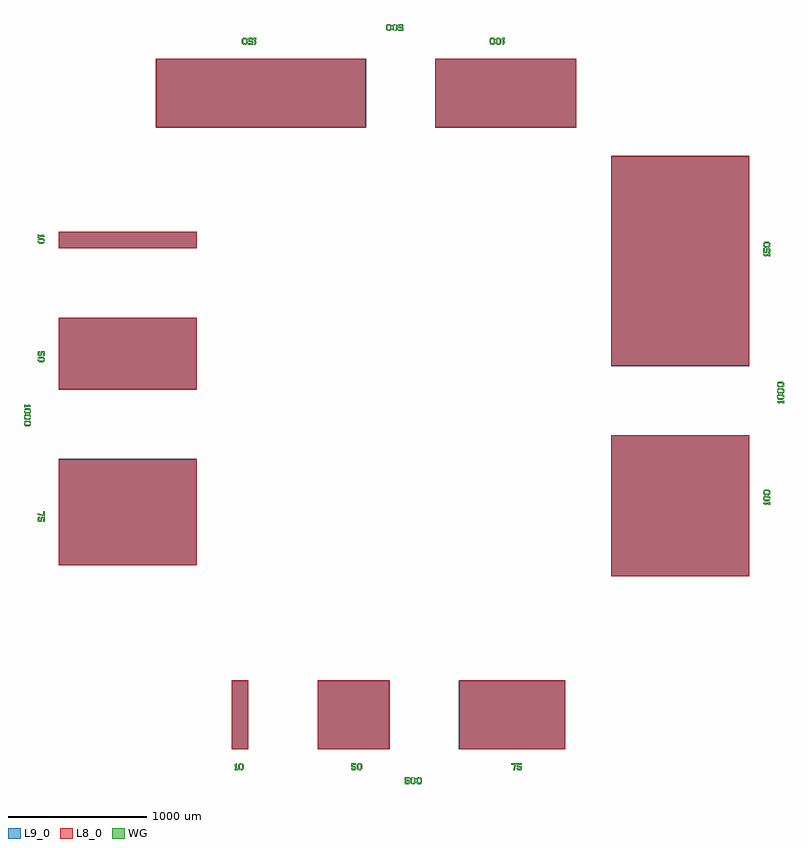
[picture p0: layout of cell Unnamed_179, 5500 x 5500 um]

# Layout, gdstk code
from math import pi, radians
import gdstk
lib = gdstk.Library(unit=1e-6, precision=1e-09)
def R(c, l, rs):  # rectangles x0, y0, x1, y1
    for r in rs: c.add(gdstk.rectangle(r[:2], r[2:], *l))
def P(c, l, *ps):  # polygons
    for p in ps: c.add(gdstk.Polygon(p, *l))
WG = (1, 0)
L8_0 = (8, 0)
L9_0 = (9, 0)

rectangle_s772_999_l9_0_ = lib.new_cell('rectangle_S772_999_L9_0_5e0e11a0')
R(rectangle_s772_999_l9_0_, L9_0, [(0,0,772,999)])

text_t75_s50_p0_0_jleft_ = lib.new_cell('text_T75_S50_P0_0_Jleft_L1_0')
P(text_t75_s50_p0_0_jleft_, WG, [(50,0),(45,5),(45,15),(55,15),(55,10),(70,10),(70,20),(50,20),(45,25),(45,50),(80,50),(80,40),(55,40),(55,30),(75,30),(80,25),(80,5),(75,0)],
  [(20,0),(28,40),(5,40),(5,50),(40,50),(30,0)])

rectangle_s75_1000_l8_0_ = lib.new_cell('rectangle_S75_1000_L8_0_1f6042d1')
R(rectangle_s75_1000_l8_0_, L8_0, [(0,0,75,1000)])

unnamed_166 = lib.new_cell('Unnamed_166')
unnamed_166.add(gdstk.Reference(rectangle_s772_999_l9_0_, (-247.455,0)))
unnamed_166.add(gdstk.Reference(text_t75_s50_p0_0_jleft_, (128.045,-150)))
unnamed_166.add(gdstk.Reference(rectangle_s75_1000_l8_0_, (-245.455,0)))
unnamed_166.add(gdstk.Reference(rectangle_s75_1000_l8_0_, (-168.455,0)))
unnamed_166.add(gdstk.Reference(rectangle_s75_1000_l8_0_, (-91.455,0)))
unnamed_166.add(gdstk.Reference(rectangle_s75_1000_l8_0_, (-14.455,0)))
unnamed_166.add(gdstk.Reference(rectangle_s75_1000_l8_0_, (62.545,0)))
unnamed_166.add(gdstk.Reference(rectangle_s75_1000_l8_0_, (139.545,0)))
unnamed_166.add(gdstk.Reference(rectangle_s75_1000_l8_0_, (216.545,0)))
unnamed_166.add(gdstk.Reference(rectangle_s75_1000_l8_0_, (293.545,0)))
unnamed_166.add(gdstk.Reference(rectangle_s75_1000_l8_0_, (370.545,0)))
unnamed_166.add(gdstk.Reference(rectangle_s75_1000_l8_0_, (447.545,0)))

text_t1000_s50_p0_0_jlef = lib.new_cell('text_T1000_S50_P0_0_Jleft_L1_0')
P(text_t1000_s50_p0_0_jlef, WG, [(48.5,0),(51,10),(55,10),(60,15),(60,35),(55,40),(57.5,50),(60,50),(70,40),(70,10),(60,0)],
  [(93.5,0),(96,10),(100,10),(105,15),(105,35),(100,40),(102.5,50),(105,50),(115,40),(115,10),(105,0)],
  [(138.5,0),(141,10),(145,10),(150,15),(150,35),(145,40),(147.5,50),(150,50),(160,40),(160,10),(150,0)],
  [(40,0),(30,10),(30,40),(40,50),(51.5,50),(49,40),(45,40),(40,35),(40,15),(45,10),(42.5,0)],
  [(85,0),(75,10),(75,40),(85,50),(96.5,50),(94,40),(90,40),(85,35),(85,15),(90,10),(87.5,0)],
  [(130,0),(120,10),(120,40),(130,50),(141.5,50),(139,40),(135,40),(130,35),(130,15),(135,10),(132.5,0)],
  [(5,0),(5,10),(10,10),(10,30),(5,30),(5,40),(15,50),(20,50),(20,10),(25,10),(25,0)])

rectangle_s522_999_l9_0_ = lib.new_cell('rectangle_S522_999_L9_0_933bcd9b')
R(rectangle_s522_999_l9_0_, L9_0, [(0,0,522,999)])

text_t50_s50_p0_0_jleft_ = lib.new_cell('text_T50_S50_P0_0_Jleft_L1_0')
P(text_t50_s50_p0_0_jleft_, WG, [(63.5,0),(66,10),(70,10),(75,15),(75,35),(70,40),(72.5,50),(75,50),(85,40),(85,10),(75,0)],
  [(55,0),(45,10),(45,40),(55,50),(66.5,50),(64,40),(60,40),(55,35),(55,15),(60,10),(57.5,0)],
  [(10,0),(5,5),(5,15),(15,15),(15,10),(30,10),(30,20),(10,20),(5,25),(5,50),(40,50),(40,40),(15,40),(15,30),(35,30),(40,25),(40,5),(35,0)])

rectangle_s50_1000_l8_0_ = lib.new_cell('rectangle_S50_1000_L8_0_be2a9c9e')
R(rectangle_s50_1000_l8_0_, L8_0, [(0,0,50,1000)])

unnamed_165 = lib.new_cell('Unnamed_165')
unnamed_165.add(gdstk.Reference(rectangle_s522_999_l9_0_, (-247.455,0)))
unnamed_165.add(gdstk.Reference(text_t50_s50_p0_0_jleft_, (-9.455,-150)))
unnamed_165.add(gdstk.Reference(rectangle_s50_1000_l8_0_, (-245.455,0)))
unnamed_165.add(gdstk.Reference(rectangle_s50_1000_l8_0_, (-193.455,0)))
unnamed_165.add(gdstk.Reference(rectangle_s50_1000_l8_0_, (-141.455,0)))
unnamed_165.add(gdstk.Reference(rectangle_s50_1000_l8_0_, (-89.455,0)))
unnamed_165.add(gdstk.Reference(rectangle_s50_1000_l8_0_, (-37.455,0)))
unnamed_165.add(gdstk.Reference(rectangle_s50_1000_l8_0_, (14.545,0)))
unnamed_165.add(gdstk.Reference(rectangle_s50_1000_l8_0_, (66.545,0)))
unnamed_165.add(gdstk.Reference(rectangle_s50_1000_l8_0_, (118.545,0)))
unnamed_165.add(gdstk.Reference(rectangle_s50_1000_l8_0_, (170.545,0)))
unnamed_165.add(gdstk.Reference(rectangle_s50_1000_l8_0_, (222.545,0)))

rectangle_s122_999_l9_0_ = lib.new_cell('rectangle_S122_999_L9_0_43e7dc5c')
R(rectangle_s122_999_l9_0_, L9_0, [(0,0,122,999)])

text_t10_s50_p0_0_jleft_ = lib.new_cell('text_T10_S50_P0_0_Jleft_L1_0')
P(text_t10_s50_p0_0_jleft_, WG, [(48.5,0),(51,10),(55,10),(60,15),(60,35),(55,40),(57.5,50),(60,50),(70,40),(70,10),(60,0)],
  [(40,0),(30,10),(30,40),(40,50),(51.5,50),(49,40),(45,40),(40,35),(40,15),(45,10),(42.5,0)],
  [(5,0),(5,10),(10,10),(10,30),(5,30),(5,40),(15,50),(20,50),(20,10),(25,10),(25,0)])

rectangle_s10_1000_l8_0_ = lib.new_cell('rectangle_S10_1000_L8_0_7ec81926')
R(rectangle_s10_1000_l8_0_, L8_0, [(0,0,10,1000)])

unnamed_164 = lib.new_cell('Unnamed_164')
unnamed_164.add(gdstk.Reference(rectangle_s122_999_l9_0_, (-247.455,0)))
unnamed_164.add(gdstk.Reference(text_t10_s50_p0_0_jleft_, (-229.455,-150)))
unnamed_164.add(gdstk.Reference(rectangle_s10_1000_l8_0_, (-245.455,0)))
unnamed_164.add(gdstk.Reference(rectangle_s10_1000_l8_0_, (-233.455,0)))
unnamed_164.add(gdstk.Reference(rectangle_s10_1000_l8_0_, (-221.455,0)))
unnamed_164.add(gdstk.Reference(rectangle_s10_1000_l8_0_, (-209.455,0)))
unnamed_164.add(gdstk.Reference(rectangle_s10_1000_l8_0_, (-197.455,0)))
unnamed_164.add(gdstk.Reference(rectangle_s10_1000_l8_0_, (-185.455,0)))
unnamed_164.add(gdstk.Reference(rectangle_s10_1000_l8_0_, (-173.455,0)))
unnamed_164.add(gdstk.Reference(rectangle_s10_1000_l8_0_, (-161.455,0)))
unnamed_164.add(gdstk.Reference(rectangle_s10_1000_l8_0_, (-149.455,0)))
unnamed_164.add(gdstk.Reference(rectangle_s10_1000_l8_0_, (-137.455,0)))

unnamed_177 = lib.new_cell('Unnamed_177')
unnamed_177.add(gdstk.Reference(unnamed_166, (3144,0)))
unnamed_177.add(gdstk.Reference(text_t1000_s50_p0_0_jlef, (2500,-250)))
unnamed_177.add(gdstk.Reference(unnamed_165, (2122,0)))
unnamed_177.add(gdstk.Reference(unnamed_164, (1500,0)))

rectangle_s1522_499_l9__ = lib.new_cell('rectangle_S1522_499_L9__793022a3')
R(rectangle_s1522_499_l9__, L9_0, [(0,0,1522,499)])

text_t150_s50_p0_0_jleft = lib.new_cell('text_T150_S50_P0_0_Jleft_L1_0')
P(text_t150_s50_p0_0_jleft, WG, [(88.5,0),(91,10),(95,10),(100,15),(100,35),(95,40),(97.5,50),(100,50),(110,40),(110,10),(100,0)],
  [(80,0),(70,10),(70,40),(80,50),(91.5,50),(89,40),(85,40),(80,35),(80,15),(85,10),(82.5,0)],
  [(35,0),(30,5),(30,15),(40,15),(40,10),(55,10),(55,20),(35,20),(30,25),(30,50),(65,50),(65,40),(40,40),(40,30),(60,30),(65,25),(65,5),(60,0)],
  [(5,0),(5,10),(10,10),(10,30),(5,30),(5,40),(15,50),(20,50),(20,10),(25,10),(25,0)])

rectangle_s150_500_l8_0_ = lib.new_cell('rectangle_S150_500_L8_0_a809281c')
R(rectangle_s150_500_l8_0_, L8_0, [(0,0,150,500)])

unnamed_163 = lib.new_cell('Unnamed_163')
unnamed_163.add(gdstk.Reference(rectangle_s1522_499_l9__, (-247.455,0)))
unnamed_163.add(gdstk.Reference(text_t150_s50_p0_0_jleft, (540.545,-150)))
unnamed_163.add(gdstk.Reference(rectangle_s150_500_l8_0_, (-245.455,0)))
unnamed_163.add(gdstk.Reference(rectangle_s150_500_l8_0_, (-93.455,0)))
unnamed_163.add(gdstk.Reference(rectangle_s150_500_l8_0_, (58.545,0)))
unnamed_163.add(gdstk.Reference(rectangle_s150_500_l8_0_, (210.545,0)))
unnamed_163.add(gdstk.Reference(rectangle_s150_500_l8_0_, (362.545,0)))
unnamed_163.add(gdstk.Reference(rectangle_s150_500_l8_0_, (514.545,0)))
unnamed_163.add(gdstk.Reference(rectangle_s150_500_l8_0_, (666.545,0)))
unnamed_163.add(gdstk.Reference(rectangle_s150_500_l8_0_, (818.545,0)))
unnamed_163.add(gdstk.Reference(rectangle_s150_500_l8_0_, (970.545,0)))
unnamed_163.add(gdstk.Reference(rectangle_s150_500_l8_0_, (1122.545,0)))

text_t500_s50_p0_0_jleft = lib.new_cell('text_T500_S50_P0_0_Jleft_L1_0')
P(text_t500_s50_p0_0_jleft, WG, [(63.5,0),(66,10),(70,10),(75,15),(75,35),(70,40),(72.5,50),(75,50),(85,40),(85,10),(75,0)],
  [(108.5,0),(111,10),(115,10),(120,15),(120,35),(115,40),(117.5,50),(120,50),(130,40),(130,10),(120,0)],
  [(55,0),(45,10),(45,40),(55,50),(66.5,50),(64,40),(60,40),(55,35),(55,15),(60,10),(57.5,0)],
  [(100,0),(90,10),(90,40),(100,50),(111.5,50),(109,40),(105,40),(100,35),(100,15),(105,10),(102.5,0)],
  [(10,0),(5,5),(5,15),(15,15),(15,10),(30,10),(30,20),(10,20),(5,25),(5,50),(40,50),(40,40),(15,40),(15,30),(35,30),(40,25),(40,5),(35,0)])

rectangle_s1022_499_l9__ = lib.new_cell('rectangle_S1022_499_L9__c49e9b72')
R(rectangle_s1022_499_l9__, L9_0, [(0,0,1022,499)])

text_t100_s50_p0_0_jleft = lib.new_cell('text_T100_S50_P0_0_Jleft_L1_0')
P(text_t100_s50_p0_0_jleft, WG, [(48.5,0),(51,10),(55,10),(60,15),(60,35),(55,40),(57.5,50),(60,50),(70,40),(70,10),(60,0)],
  [(93.5,0),(96,10),(100,10),(105,15),(105,35),(100,40),(102.5,50),(105,50),(115,40),(115,10),(105,0)],
  [(40,0),(30,10),(30,40),(40,50),(51.5,50),(49,40),(45,40),(40,35),(40,15),(45,10),(42.5,0)],
  [(85,0),(75,10),(75,40),(85,50),(96.5,50),(94,40),(90,40),(85,35),(85,15),(90,10),(87.5,0)],
  [(5,0),(5,10),(10,10),(10,30),(5,30),(5,40),(15,50),(20,50),(20,10),(25,10),(25,0)])

rectangle_s100_500_l8_0_ = lib.new_cell('rectangle_S100_500_L8_0_4ff10c85')
R(rectangle_s100_500_l8_0_, L8_0, [(0,0,100,500)])

unnamed_162 = lib.new_cell('Unnamed_162')
unnamed_162.add(gdstk.Reference(rectangle_s1022_499_l9__, (-247.455,0)))
unnamed_162.add(gdstk.Reference(text_t100_s50_p0_0_jleft, (265.545,-150)))
unnamed_162.add(gdstk.Reference(rectangle_s100_500_l8_0_, (-245.455,0)))
unnamed_162.add(gdstk.Reference(rectangle_s100_500_l8_0_, (-143.455,0)))
unnamed_162.add(gdstk.Reference(rectangle_s100_500_l8_0_, (-41.455,0)))
unnamed_162.add(gdstk.Reference(rectangle_s100_500_l8_0_, (60.545,0)))
unnamed_162.add(gdstk.Reference(rectangle_s100_500_l8_0_, (162.545,0)))
unnamed_162.add(gdstk.Reference(rectangle_s100_500_l8_0_, (264.545,0)))
unnamed_162.add(gdstk.Reference(rectangle_s100_500_l8_0_, (366.545,0)))
unnamed_162.add(gdstk.Reference(rectangle_s100_500_l8_0_, (468.545,0)))
unnamed_162.add(gdstk.Reference(rectangle_s100_500_l8_0_, (570.545,0)))
unnamed_162.add(gdstk.Reference(rectangle_s100_500_l8_0_, (672.545,0)))

unnamed_176 = lib.new_cell('Unnamed_176')
unnamed_176.add(gdstk.Reference(unnamed_163, (3022,0)))
unnamed_176.add(gdstk.Reference(text_t500_s50_p0_0_jleft, (2500,-250)))
unnamed_176.add(gdstk.Reference(unnamed_162, (1500,0)))

rectangle_s1522_999_l9__ = lib.new_cell('rectangle_S1522_999_L9__c22040db')
R(rectangle_s1522_999_l9__, L9_0, [(0,0,1522,999)])

rectangle_s150_1000_l8__ = lib.new_cell('rectangle_S150_1000_L8__8951bea8')
R(rectangle_s150_1000_l8__, L8_0, [(0,0,150,1000)])

unnamed_168 = lib.new_cell('Unnamed_168')
unnamed_168.add(gdstk.Reference(rectangle_s1522_999_l9__, (-247.455,0)))
unnamed_168.add(gdstk.Reference(text_t150_s50_p0_0_jleft, (540.545,-150)))
unnamed_168.add(gdstk.Reference(rectangle_s150_1000_l8__, (-245.455,0)))
unnamed_168.add(gdstk.Reference(rectangle_s150_1000_l8__, (-93.455,0)))
unnamed_168.add(gdstk.Reference(rectangle_s150_1000_l8__, (58.545,0)))
unnamed_168.add(gdstk.Reference(rectangle_s150_1000_l8__, (210.545,0)))
unnamed_168.add(gdstk.Reference(rectangle_s150_1000_l8__, (362.545,0)))
unnamed_168.add(gdstk.Reference(rectangle_s150_1000_l8__, (514.545,0)))
unnamed_168.add(gdstk.Reference(rectangle_s150_1000_l8__, (666.545,0)))
unnamed_168.add(gdstk.Reference(rectangle_s150_1000_l8__, (818.545,0)))
unnamed_168.add(gdstk.Reference(rectangle_s150_1000_l8__, (970.545,0)))
unnamed_168.add(gdstk.Reference(rectangle_s150_1000_l8__, (1122.545,0)))

rectangle_s1022_999_l9__ = lib.new_cell('rectangle_S1022_999_L9__b8083b68')
R(rectangle_s1022_999_l9__, L9_0, [(0,0,1022,999)])

rectangle_s100_1000_l8__ = lib.new_cell('rectangle_S100_1000_L8__05f3c08c')
R(rectangle_s100_1000_l8__, L8_0, [(0,0,100,1000)])

unnamed_167 = lib.new_cell('Unnamed_167')
unnamed_167.add(gdstk.Reference(rectangle_s1022_999_l9__, (-247.455,0)))
unnamed_167.add(gdstk.Reference(text_t100_s50_p0_0_jleft, (265.545,-150)))
unnamed_167.add(gdstk.Reference(rectangle_s100_1000_l8__, (-245.455,0)))
unnamed_167.add(gdstk.Reference(rectangle_s100_1000_l8__, (-143.455,0)))
unnamed_167.add(gdstk.Reference(rectangle_s100_1000_l8__, (-41.455,0)))
unnamed_167.add(gdstk.Reference(rectangle_s100_1000_l8__, (60.545,0)))
unnamed_167.add(gdstk.Reference(rectangle_s100_1000_l8__, (162.545,0)))
unnamed_167.add(gdstk.Reference(rectangle_s100_1000_l8__, (264.545,0)))
unnamed_167.add(gdstk.Reference(rectangle_s100_1000_l8__, (366.545,0)))
unnamed_167.add(gdstk.Reference(rectangle_s100_1000_l8__, (468.545,0)))
unnamed_167.add(gdstk.Reference(rectangle_s100_1000_l8__, (570.545,0)))
unnamed_167.add(gdstk.Reference(rectangle_s100_1000_l8__, (672.545,0)))

unnamed_178 = lib.new_cell('Unnamed_178')
unnamed_178.add(gdstk.Reference(text_t1000_s50_p0_0_jlef, (2500,-250)))
unnamed_178.add(gdstk.Reference(unnamed_168, (3022,0)))
unnamed_178.add(gdstk.Reference(unnamed_167, (1500,0)))

rectangle_s772_499_l9_0_ = lib.new_cell('rectangle_S772_499_L9_0_461a7235')
R(rectangle_s772_499_l9_0_, L9_0, [(0,0,772,499)])

rectangle_s75_500_l8_0__ = lib.new_cell('rectangle_S75_500_L8_0__8323fceb')
R(rectangle_s75_500_l8_0__, L8_0, [(0,0,75,500)])

unnamed_161 = lib.new_cell('Unnamed_161')
unnamed_161.add(gdstk.Reference(rectangle_s772_499_l9_0_, (-247.455,0)))
unnamed_161.add(gdstk.Reference(text_t75_s50_p0_0_jleft_, (128.045,-150)))
unnamed_161.add(gdstk.Reference(rectangle_s75_500_l8_0__, (-245.455,0)))
unnamed_161.add(gdstk.Reference(rectangle_s75_500_l8_0__, (-168.455,0)))
unnamed_161.add(gdstk.Reference(rectangle_s75_500_l8_0__, (-91.455,0)))
unnamed_161.add(gdstk.Reference(rectangle_s75_500_l8_0__, (-14.455,0)))
unnamed_161.add(gdstk.Reference(rectangle_s75_500_l8_0__, (62.545,0)))
unnamed_161.add(gdstk.Reference(rectangle_s75_500_l8_0__, (139.545,0)))
unnamed_161.add(gdstk.Reference(rectangle_s75_500_l8_0__, (216.545,0)))
unnamed_161.add(gdstk.Reference(rectangle_s75_500_l8_0__, (293.545,0)))
unnamed_161.add(gdstk.Reference(rectangle_s75_500_l8_0__, (370.545,0)))
unnamed_161.add(gdstk.Reference(rectangle_s75_500_l8_0__, (447.545,0)))

rectangle_s522_499_l9_0_ = lib.new_cell('rectangle_S522_499_L9_0_d1865148')
R(rectangle_s522_499_l9_0_, L9_0, [(0,0,522,499)])

rectangle_s50_500_l8_0__ = lib.new_cell('rectangle_S50_500_L8_0__828c9f47')
R(rectangle_s50_500_l8_0__, L8_0, [(0,0,50,500)])

unnamed_160 = lib.new_cell('Unnamed_160')
unnamed_160.add(gdstk.Reference(rectangle_s522_499_l9_0_, (-247.455,0)))
unnamed_160.add(gdstk.Reference(text_t50_s50_p0_0_jleft_, (-9.455,-150)))
unnamed_160.add(gdstk.Reference(rectangle_s50_500_l8_0__, (-245.455,0)))
unnamed_160.add(gdstk.Reference(rectangle_s50_500_l8_0__, (-193.455,0)))
unnamed_160.add(gdstk.Reference(rectangle_s50_500_l8_0__, (-141.455,0)))
unnamed_160.add(gdstk.Reference(rectangle_s50_500_l8_0__, (-89.455,0)))
unnamed_160.add(gdstk.Reference(rectangle_s50_500_l8_0__, (-37.455,0)))
unnamed_160.add(gdstk.Reference(rectangle_s50_500_l8_0__, (14.545,0)))
unnamed_160.add(gdstk.Reference(rectangle_s50_500_l8_0__, (66.545,0)))
unnamed_160.add(gdstk.Reference(rectangle_s50_500_l8_0__, (118.545,0)))
unnamed_160.add(gdstk.Reference(rectangle_s50_500_l8_0__, (170.545,0)))
unnamed_160.add(gdstk.Reference(rectangle_s50_500_l8_0__, (222.545,0)))

rectangle_s122_499_l9_0_ = lib.new_cell('rectangle_S122_499_L9_0_c9f07a0d')
R(rectangle_s122_499_l9_0_, L9_0, [(0,0,122,499)])

rectangle_s10_500_l8_0__ = lib.new_cell('rectangle_S10_500_L8_0__11fb7823')
R(rectangle_s10_500_l8_0__, L8_0, [(0,0,10,500)])

unnamed_159 = lib.new_cell('Unnamed_159')
unnamed_159.add(gdstk.Reference(rectangle_s122_499_l9_0_, (-247.455,0)))
unnamed_159.add(gdstk.Reference(text_t10_s50_p0_0_jleft_, (-229.455,-150)))
unnamed_159.add(gdstk.Reference(rectangle_s10_500_l8_0__, (-245.455,0)))
unnamed_159.add(gdstk.Reference(rectangle_s10_500_l8_0__, (-233.455,0)))
unnamed_159.add(gdstk.Reference(rectangle_s10_500_l8_0__, (-221.455,0)))
unnamed_159.add(gdstk.Reference(rectangle_s10_500_l8_0__, (-209.455,0)))
unnamed_159.add(gdstk.Reference(rectangle_s10_500_l8_0__, (-197.455,0)))
unnamed_159.add(gdstk.Reference(rectangle_s10_500_l8_0__, (-185.455,0)))
unnamed_159.add(gdstk.Reference(rectangle_s10_500_l8_0__, (-173.455,0)))
unnamed_159.add(gdstk.Reference(rectangle_s10_500_l8_0__, (-161.455,0)))
unnamed_159.add(gdstk.Reference(rectangle_s10_500_l8_0__, (-149.455,0)))
unnamed_159.add(gdstk.Reference(rectangle_s10_500_l8_0__, (-137.455,0)))

unnamed_175 = lib.new_cell('Unnamed_175')
unnamed_175.add(gdstk.Reference(text_t500_s50_p0_0_jleft, (2500,-250)))
unnamed_175.add(gdstk.Reference(unnamed_161, (3144,0)))
unnamed_175.add(gdstk.Reference(unnamed_160, (2122,0)))
unnamed_175.add(gdstk.Reference(unnamed_159, (1500,0)))

unnamed_179 = lib.new_cell('Unnamed_179')
unnamed_179.add(gdstk.Reference(unnamed_177, (0,5000), rotation=3*pi/2))
unnamed_179.add(gdstk.Reference(unnamed_176, (5000,5000), rotation=pi))
unnamed_179.add(gdstk.Reference(unnamed_178, (5000,0), rotation=pi/2))
unnamed_179.add(gdstk.Reference(unnamed_175, (0,0)))

lib.write_gds('Unnamed_179.gds')
